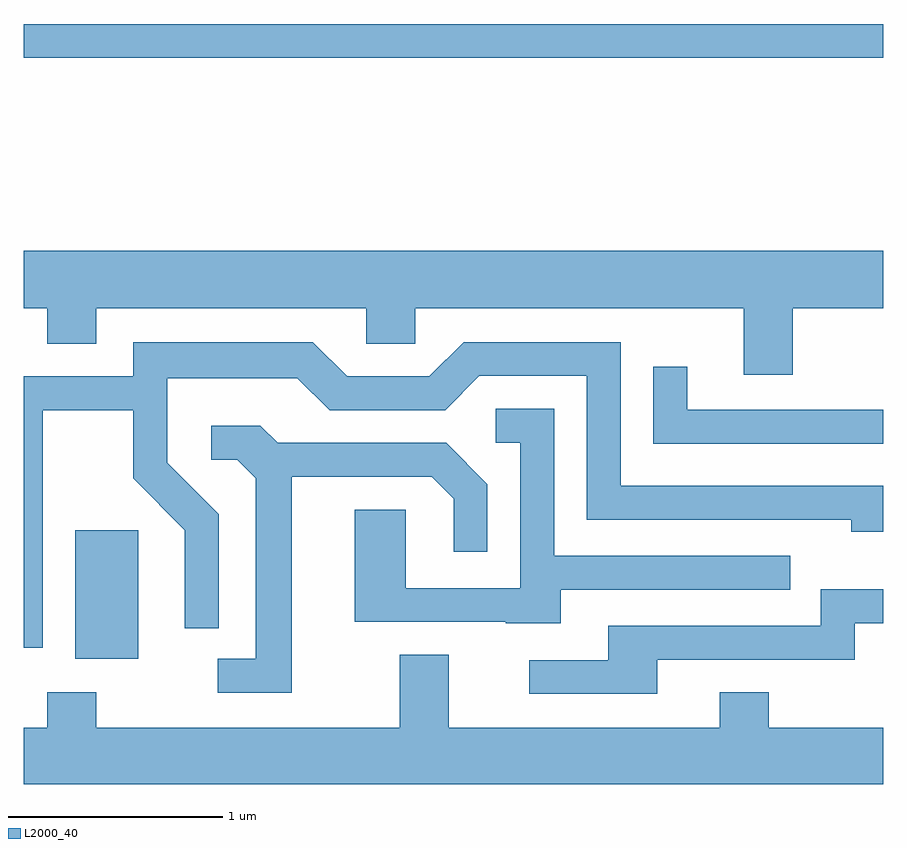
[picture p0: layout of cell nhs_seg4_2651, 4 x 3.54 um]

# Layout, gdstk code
import gdstk
lib = gdstk.Library(unit=1e-6, precision=1e-09)
def R(c, l, rs):  # rectangles x0, y0, x1, y1
    for r in rs: c.add(gdstk.rectangle(r[:2], r[2:], *l))
def P(c, l, *ps):  # polygons
    for p in ps: c.add(gdstk.Polygon(p, *l))
L2000_40 = (2000, 40)

nhs_seg4_2651 = lib.new_cell('nhs_seg4_2651')
R(nhs_seg4_2651, L2000_40, [(261.851,1388.566,262.144,1389.164), (261.611,1391.361,265.611,1391.519)])
P(nhs_seg4_2651, L2000_40, [(265.189,1390.196),(265.611,1390.196),(265.611,1390.464),(261.611,1390.464),(261.611,1390.196),(261.721,1390.196),(261.721,1390.031),(261.949,1390.031),(261.949,1390.196),(263.206,1390.196),(263.206,1390.031),(263.434,1390.031),(263.434,1390.196),(264.961,1390.196),(264.961,1389.886),(265.189,1389.886)],
  [(261.699,1389.721),(262.121,1389.721),(262.121,1389.404),(262.361,1389.164),(262.361,1388.708),(262.519,1388.708),(262.519,1389.237),(262.279,1389.477),(262.279,1389.871),(262.884,1389.871),(263.034,1389.721),(263.572,1389.721),(263.732,1389.881),(264.231,1389.881),(264.231,1389.211),(265.461,1389.211),(265.461,1389.156),(265.611,1389.156),(265.611,1389.369),(264.389,1389.369),(264.389,1390.039),(263.659,1390.039),(263.499,1389.879),(263.117,1389.879),(262.957,1390.039),(262.121,1390.039),(262.121,1389.879),(261.611,1389.879),(261.611,1388.616),(261.699,1388.616)],
  [(265.611,1389.724),(264.699,1389.724),(264.699,1389.923),(264.541,1389.923),(264.541,1389.566),(265.611,1389.566)],
  [(264.109,1388.886),(265.178,1388.886),(265.178,1389.044),(264.079,1389.044),(264.079,1389.729),(263.808,1389.729),(263.808,1389.571),(263.921,1389.571),(263.921,1388.894),(263.389,1388.894),(263.389,1389.259),(263.151,1389.259),(263.151,1388.736),(263.855,1388.736),(263.855,1388.731),(264.109,1388.731)],
  [(262.859,1389.411),(263.509,1389.411),(263.611,1389.309),(263.611,1389.063),(263.769,1389.063),(263.769,1389.377),(263.577,1389.569),(262.792,1389.569),(262.712,1389.649),(262.483,1389.649),(262.483,1389.491),(262.604,1389.491),(262.691,1389.404),(262.691,1388.564),(262.513,1388.564),(262.513,1388.406),(262.859,1388.406)],
  [(264.559,1388.561),(265.479,1388.561),(265.479,1388.731),(265.611,1388.731),(265.611,1388.889),(265.321,1388.889),(265.321,1388.719),(264.331,1388.719),(264.331,1388.559),(263.963,1388.559),(263.963,1388.401),(264.559,1388.401)],
  [(263.361,1388.584),(263.361,1388.244),(261.949,1388.244),(261.949,1388.409),(261.721,1388.409),(261.721,1388.244),(261.611,1388.244),(261.611,1387.982),(265.611,1387.982),(265.611,1388.244),(265.079,1388.244),(265.079,1388.409),(264.851,1388.409),(264.851,1388.244),(263.589,1388.244),(263.589,1388.584)])

lib.write_gds('nhs_seg4_2651.gds')
